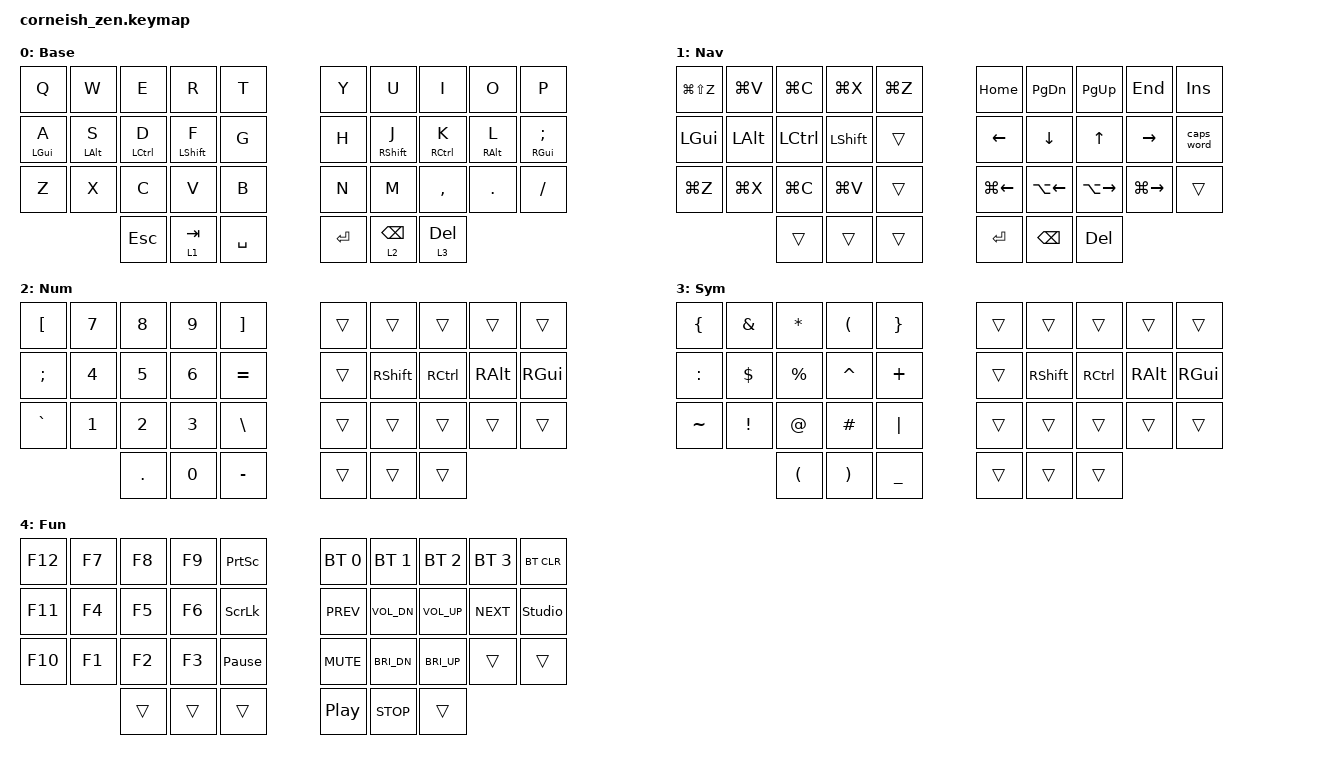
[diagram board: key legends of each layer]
#include <behaviors.dtsi>
#include <dt-bindings/zmk/keys.h>
#include <dt-bindings/zmk/bt.h>

// LAYOUT OVERVIEW (36 keys: 5-col split + 3 thumb per side)
//
// 5 Layers:
//   0 Base    - QWERTY with home row mods (hold ASDF/JKL; for Cmd/Alt/Ctrl/Shft)
//   1 Nav     - Activated by holding left thumb TAB key
//   2 Num     - Activated by holding right thumb BSPC key
//   3 Sym     - Activated by holding right thumb DEL key
//   4 Fun     - Activated automatically when Nav(1) + Num(2) held together
//
// Home Row Mods (tap = letter, hold = modifier):
//   Left:  A=Cmd  S=Alt  D=Ctrl  F=Shift
//   Right: J=Shift  K=Ctrl  L=Alt  ;=Cmd
//
// Thumb Keys (tap / hold):
//   Left:  ESC / --  |  TAB / Nav layer  |  SPACE / --
//   Right: ENT / --  |  BSPC / Num layer |  DEL / Sym layer
//
// Combos:
//   L + ; = ' (single quote / double quote with shift)
//   F + G = Cmd+Tab (app switcher)

/ {
    chosen {
        zmk,physical-layout = &foostan_corne_5col_layout;
    };
};

/ {
    behaviors {
        hm: homerow_mod {
            compatible = "zmk,behavior-hold-tap";
            #binding-cells = <2>;
            tapping-term-ms = <280>;
            quick-tap-ms = <175>;
            require-prior-idle-ms = <150>;
            flavor = "balanced";
            bindings = <&kp>, <&kp>;
        };
    };

    combos {
        compatible = "zmk,combos";
        combo_sqt {
            timeout-ms = <50>;
            key-positions = <18 19>;
            bindings = <&kp SQT>;
        };
        combo_cmd_tab {
            timeout-ms = <50>;
            key-positions = <13 14>;
            bindings = <&kp LG(TAB)>;
        };
    };

    conditional_layers {
        compatible = "zmk,conditional-layers";
        fun_layer {
            if-layers = <1 2>;
            then-layer = <4>;
        };
    };

    keymap {
        compatible = "zmk,keymap";

        default_layer {
            display-name = "Base";
// ------------------------------------------------------------------
// |  Q  |  W  |  E  |  R  |  T  |   |  Y  |  U  |  I  |  O  |  P  |
// | A   | S   | D   | F   |  G  |   |  H  | J   | K   | L   | ;   |
// | Cmd | Alt |Ctrl |Shft |     |   |     |Shft |Ctrl | Alt | Cmd |
// |  Z  |  X  |  C  |  V  |  B  |   |  N  |  M  |  ,  |  .  |  /  |
//         | ESC | TAB/Nav(1) | SPC |   | ENT | BSPC/Num(2) | DEL/Sym(3) |
            bindings = <
&kp Q       &kp W       &kp E        &kp R        &kp T          &kp Y  &kp U        &kp I        &kp O       &kp P
&hm LGUI A  &hm LALT S  &hm LCTRL D  &hm LSHFT F  &kp G          &kp H  &hm RSHFT J  &hm RCTRL K  &hm RALT L  &hm RGUI SEMI
&kp Z       &kp X       &kp C        &kp V        &kp B          &kp N  &kp M        &kp COMMA    &kp DOT     &kp FSLH
                         &kp ESC      &lt 1 TAB    &kp SPACE      &kp RET &lt 2 BSPC  &lt 3 DEL
            >;
        };

        nav_layer {
            display-name = "Nav";
// Activated: hold TAB (left middle thumb)
// Left hand: macOS clipboard shortcuts | Right hand: navigation
// ------------------------------------------------------------------
// |Cmd+Shift+Z|Cmd+V|Cmd+C|Cmd+X|Cmd+Z|   |HOME |PGDN |PGUP | END | INS |
// | Cmd | Alt |Ctrl |Shft |     |   |  <  |  v  |  ^  |  >  |CAPWD|
// |Cmd+Z|Cmd+X|Cmd+C|Cmd+V|     |   |Cmd+<|Alt+<|Alt+>|Cmd+>|     |
//              |     | === |     |   | ENT |BSPC | DEL |
//                    (held)        CAPWD = caps_word
            bindings = <
&kp LG(LS(Z)) &kp LG(V) &kp LG(C) &kp LG(X) &kp LG(Z)      &kp HOME      &kp PG_DN     &kp PG_UP     &kp END       &kp INS
&kp LGUI      &kp LALT   &kp LCTRL  &kp LSHFT  &trans          &kp LEFT      &kp DOWN      &kp UP        &kp RIGHT     &caps_word
&kp LG(Z)     &kp LG(X)  &kp LG(C)  &kp LG(V)  &trans          &kp LG(LEFT)  &kp LA(LEFT)  &kp LA(RIGHT) &kp LG(RIGHT) &trans
                         &trans     &trans     &trans          &kp RET       &kp BSPC      &kp DEL
            >;
        };

        num_layer {
            display-name = "Num";
// Activated: hold BSPC (right middle thumb)
// Left hand: numpad + extras | Right hand: sticky mods for combos
// ------------------------------------------------------------------
// |  [  |  7  |  8  |  9  |  ]  |   |     |     |     |     |     |
// |  ;  |  4  |  5  |  6  |  =  |   |     |Shft |Ctrl | Alt | Cmd |
// |  `  |  1  |  2  |  3  |  \  |   |     |     |     |     |     |
//              |  .  |  0  |  -  |   |     | === |     |
//                                        (held)
            bindings = <
&kp LBKT  &kp N7 &kp N8  &kp N9 &kp RBKT       &trans &trans     &trans     &trans    &trans
&kp SEMI  &kp N4 &kp N5  &kp N6 &kp EQUAL      &trans &kp RSHFT  &kp RCTRL  &kp RALT  &kp RGUI
&kp GRAVE &kp N1 &kp N2  &kp N3 &kp BSLH       &trans &trans     &trans     &trans    &trans
                  &kp DOT &kp N0 &kp MINUS       &trans &trans     &trans
            >;
        };

        sym_layer {
            display-name = "Sym";
// Shifted counterparts of Num layer in matching positions
// Left hand: symbols | Right hand: sticky mods for combos
// ------------------------------------------------------------------
// |  {  |  &  |  *  |  (  |  }  |   |     |     |     |     |     |
// |  :  |  $  |  %  |  ^  |  +  |   |     |Shft |Ctrl | Alt | Cmd |
// |  ~  |  !  |  @  |  #  |  |  |   |     |     |     |     |     |
//              |  (  |  )  |  _  |   |     |     |     |
            bindings = <
&kp LBRC  &kp AMPS &kp ASTRK &kp LPAR  &kp RBRC      &trans &trans     &trans     &trans    &trans
&kp COLON &kp DLLR &kp PRCNT &kp CARET &kp PLUS      &trans &kp RSHFT  &kp RCTRL  &kp RALT  &kp RGUI
&kp TILDE &kp EXCL &kp AT    &kp HASH  &kp PIPE      &trans &trans     &trans     &trans    &trans
                    &kp LPAR  &kp RPAR  &kp UNDER      &trans &trans     &trans
            >;
        };

        fun_layer {
            display-name = "Fun";
// Activated: hold TAB + BSPC together (Nav + Num = conditional layer 4)
// Left hand: F-keys | Right hand: bluetooth, media, brightness
// ------------------------------------------------------------------
// | F12 | F7  | F8  | F9  |PSCRN|   | BT0 | BT1 | BT2 | BT3 |BTCLR|
// | F11 | F4  | F5  | F6  |SLCK |   |PREV |VOL- |VOL+ |NEXT |STUDI|
// | F10 | F1  | F2  | F3  |PAUSE|   |MUTE |BRI- |BRI+ |     |     |
//              |     | === |     |   | P/P |STOP |     |
//                    (held)              ^play/pause
            bindings = <
&kp F12 &kp F7 &kp F8 &kp F9 &kp PSCRN          &bt BT_SEL 0 &bt BT_SEL 1 &bt BT_SEL 2 &bt BT_SEL 3 &bt BT_CLR
&kp F11 &kp F4 &kp F5 &kp F6 &kp SLCK           &kp C_PREV   &kp C_VOL_DN &kp C_VOL_UP &kp C_NEXT   &studio_unlock
&kp F10 &kp F1 &kp F2 &kp F3 &kp PAUSE_BREAK    &kp C_MUTE   &kp C_BRI_DN &kp C_BRI_UP &trans       &trans
                &trans &trans  &trans              &kp C_PP     &kp C_STOP   &trans
            >;
        };
    };
};
